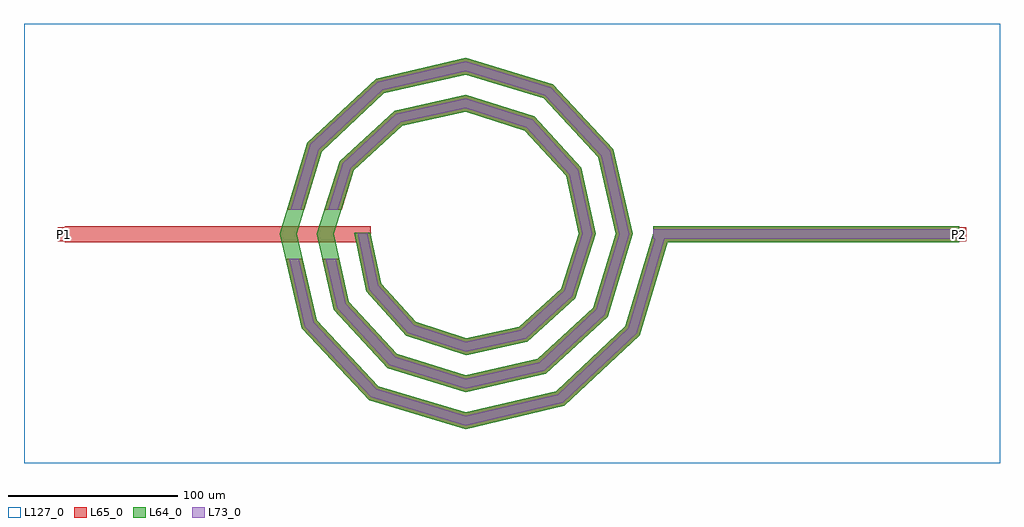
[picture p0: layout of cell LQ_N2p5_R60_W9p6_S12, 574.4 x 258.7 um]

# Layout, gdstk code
import gdstk
lib = gdstk.Library(unit=1e-6, precision=1e-09)
def R(c, l, rs):  # rectangles x0, y0, x1, y1
    for r in rs: c.add(gdstk.rectangle(r[:2], r[2:], *l))
def P(c, l, *ps):  # polygons
    for p in ps: c.add(gdstk.Polygon(p, *l))
L64_0 = (64, 0)
L65_0 = (65, 0)
L73_0 = (73, 0)
L127_0 = (127, 0)

lq_n2p5_r60_w9p6_s12 = lib.new_cell('LQ_N2p5_R60_W9p6_S12')
R(lq_n2p5_r60_w9p6_s12, L64_0, [(110.51,-4.8,290.51,4.8)])
P(lq_n2p5_r60_w9p6_s12, L64_0, [(-49.702,-29.007),(-29.457,-51.545),(0.255,-61.187),(31.719,-54.442),(56.264,-32.205),(66.649,0.236),(59.181,34.434),(34.951,60.985),(0.219,72.11),(-37.151,63.919),(-65.707,37.694),(-77.572,0.204),(-68.656,-39.869),(-40.437,-70.43),(0.192,-83.033),(42.59,-73.392),(75.154,-43.178),(88.495,0.181),(78.127,45.311),(45.918,79.879),(0.171,93.957),(-48.034,82.862),(-84.604,48.656),(-99.418,0.162),(-87.596,-50.757),(-51.394,-89.33),(0.154,-104.88),(53.481,-92.33),(94.057,-54.132),(110.712,1.379),(119.907,-1.379),(102.512,-59.357),(58.187,-101.085),(0.154,-114.815),(-56.632,-97.778),(-96.358,-55.449),(-109.352,0.162),(-93.043,53.908),(-52.71,91.632),(0.171,103.89),(51.185,88.308),(86.906,49.971),(98.428,0.181),(83.572,-48.463),(47.23,-82.181),(0.192,-92.965),(-45.742,-78.836),(-77.457,-44.489),(-87.503,0.204),(-74.098,43.022),(-41.745,72.733),(0.219,82.04),(40.304,69.36),(68.01,39),(76.578,0.236),(64.62,-37.588),(36.253,-63.288),(0.255,-71.115),(-34.874,-59.879),(-58.568,-33.503),(-65.387,0.985),(-55.991,0.985)])
R(lq_n2p5_r60_w9p6_s12, L65_0, [(-235.889,-4.8,-55.889,4.8), (110.51,-4.8,290.51,4.8), (-239.889,-4,-231.889,4), (286.51,-4,294.51,4)])
P(lq_n2p5_r60_w9p6_s12, L65_0, [(-87.596,-50.757),(-51.395,-89.33),(0.154,-104.88),(53.481,-92.33),(94.057,-54.132),(110.712,1.379),(119.907,-1.379),(102.512,-59.357),(58.187,-101.085),(0.154,-114.815),(-56.632,-97.778),(-96.358,-55.449),(-105.95,-14.4),(-96.091,-14.4)],
  [(-68.656,-39.869),(-40.437,-70.43),(0.192,-83.033),(42.59,-73.392),(75.154,-43.178),(88.495,0.181),(78.127,45.311),(45.918,79.879),(0.171,93.957),(-48.034,82.862),(-84.604,48.656),(-95,14.4),(-105.032,14.4),(-93.043,53.908),(-52.71,91.632),(0.171,103.89),(51.185,88.308),(86.906,49.971),(98.428,0.181),(83.572,-48.463),(47.231,-82.181),(0.192,-92.966),(-45.742,-78.836),(-77.457,-44.489),(-84.22,-14.4),(-74.381,-14.4)],
  [(-29.457,-51.545),(0.255,-61.188),(31.719,-54.442),(56.264,-32.205),(66.649,0.236),(59.181,34.434),(34.951,60.985),(0.219,72.11),(-37.151,63.919),(-65.707,37.695),(-73,14.4),(-83.059,14.4),(-74.098,43.022),(-41.746,72.733),(0.219,82.041),(40.304,69.36),(68.01,39),(76.578,0.236),(64.621,-37.588),(36.253,-63.288),(0.255,-71.115),(-34.874,-59.879),(-58.568,-33.503),(-65.387,0.985),(-55.991,0.985),(-49.702,-29.007)])
R(lq_n2p5_r60_w9p6_s12, L73_0, [(110.51,-2.8,290.51,2.8)])
P(lq_n2p5_r60_w9p6_s12, L73_0, [(-89.422,-51.735),(-52.486,-91.09),(0.09,-106.95),(54.462,-94.154),(95.818,-55.22),(112.628,0.805),(117.991,0.805),(100.75,-58.268),(57.207,-99.261),(0.09,-112.745),(-55.541,-96.018),(-94.533,-54.472),(-103.896,-14.4),(-98.145,-14.4)],
  [(-70.489,-40.832),(-41.542,-72.181),(0.112,-85.102),(43.556,-75.223),(76.908,-44.279),(90.564,0.105),(79.956,46.282),(47.015,81.635),(0.1,96.026),(-49.008,84.689),(-86.362,49.751),(-97.09,14.4),(-102.942,14.4),(-91.285,52.814),(-51.736,89.805),(0.1,101.821),(50.088,86.552),(85.077,49),(96.359,0.105),(81.818,-47.362),(46.264,-80.35),(0.112,-90.896),(-44.637,-77.085),(-75.623,-43.526),(-82.17,-14.4),(-76.431,-14.4)],
  [(-30.585,-53.281),(0.149,-63.256),(32.664,-56.285),(58.005,-33.326),(68.717,0.137),(61.021,35.385),(36.066,62.73),(0.128,74.179),(-38.108,65.755),(-67.455,38.804),(-75.095,14.4),(-80.963,14.4),(-72.35,41.912),(-40.788,70.897),(0.128,79.972),(39.189,67.615),(66.171,38.049),(74.509,0.137),(62.88,-36.466),(35.308,-61.446),(0.149,-69.047),(-33.745,-58.143),(-56.721,-32.566),(-63.43,0.575),(-57.949,0.575),(-51.549,-29.944)])
R(lq_n2p5_r60_w9p6_s12, L127_0, [(-259.889,-134.815,314.51,123.89)])
lq_n2p5_r60_w9p6_s12.add(gdstk.Label('P2', (290.51,0), layer=65, texttype=0))
lq_n2p5_r60_w9p6_s12.add(gdstk.Label('P1', (-235.889,0), layer=65, texttype=0))
lq_n2p5_r60_w9p6_s12.add(gdstk.Label('P2', (294.51,0), layer=145, texttype=0))
lq_n2p5_r60_w9p6_s12.add(gdstk.Label('P1', (-239.889,0), layer=145, texttype=0))

lib.write_gds('LQ_N2p5_R60_W9p6_S12.gds')
